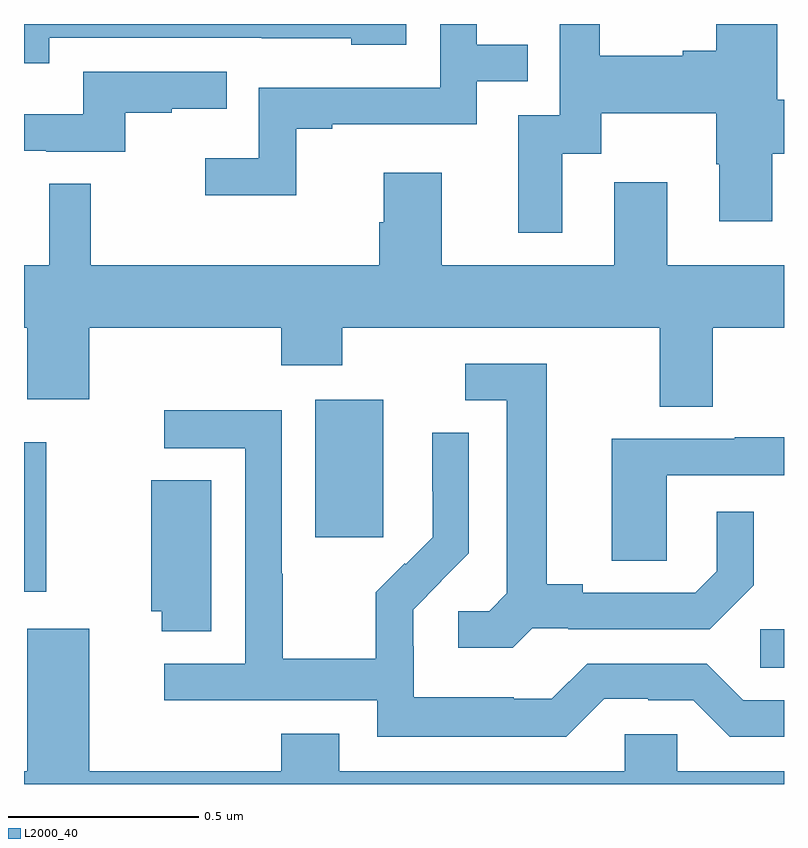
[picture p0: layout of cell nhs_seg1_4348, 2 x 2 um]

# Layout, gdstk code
import gdstk
lib = gdstk.Library(unit=1e-6, precision=1e-09)
def R(c, l, rs):  # rectangles x0, y0, x1, y1
    for r in rs: c.add(gdstk.rectangle(r[:2], r[2:], *l))
def P(c, l, *ps):  # polygons
    for p in ps: c.add(gdstk.Polygon(p, *l))
L2000_40 = (2000, 40)

nhs_seg1_4348 = lib.new_cell('nhs_seg1_4348')
R(nhs_seg1_4348, L2000_40, [(166.938,549.505,167,549.606), (165,549.705,165.058,550.099), (165.767,549.849,165.946,550.21)])
P(nhs_seg1_4348, L2000_40, [(165.067,551.163),(165.625,551.163),(165.625,551.162),(165.861,551.162),(165.861,551.144),(166.006,551.144),(166.006,551.199),(165,551.199),(165,551.096),(165.067,551.096)],
  [(166.417,550.858),(166.519,550.858),(166.519,550.964),(166.822,550.964),(166.822,550.83),(166.829,550.83),(166.829,550.68),(166.969,550.68),(166.969,550.858),(167,550.858),(167,551),(166.982,551),(166.982,551.199),(166.822,551.199),(166.822,551.129),(166.733,551.129),(166.733,551.116),(166.515,551.116),(166.515,551.199),(166.41,551.199),(166.41,550.959),(166.301,550.959),(166.301,550.65),(166.417,550.65)],
  [(165.717,550.923),(165.811,550.923),(165.811,550.935),(166.191,550.935),(166.191,551.049),(166.325,551.049),(166.325,551.145),(166.191,551.145),(166.191,551.199),(166.095,551.199),(166.095,551.031),(165.618,551.031),(165.618,550.846),(165.477,550.846),(165.477,550.748),(165.717,550.748)],
  [(165.266,550.965),(165.389,550.965),(165.389,550.976),(165.533,550.976),(165.533,551.073),(165.156,551.073),(165.156,550.961),(165,550.961),(165,550.866),(165.058,550.866),(165.058,550.863),(165.266,550.863)],
  [(166.813,550.4),(167,550.4),(167,550.564),(166.693,550.564),(166.693,550.783),(166.553,550.783),(166.553,550.564),(166.099,550.564),(166.099,550.807),(165.947,550.807),(165.947,550.677),(165.935,550.677),(165.935,550.564),(165.175,550.564),(165.175,550.778),(165.066,550.778),(165.066,550.564),(165,550.564),(165,550.4),(165.008,550.4),(165.008,550.212),(165.172,550.212),(165.172,550.4),(165.677,550.4),(165.677,550.301),(165.837,550.301),(165.837,550.4),(166.673,550.4),(166.673,550.192),(166.813,550.192)],
  [(166.338,549.609),(166.432,549.609),(166.432,549.606),(166.804,549.606),(166.92,549.722),(166.92,549.916),(166.823,549.916),(166.823,549.759),(166.766,549.702),(166.471,549.702),(166.471,549.725),(166.375,549.725),(166.375,550.305),(166.161,550.305),(166.161,550.209),(166.271,550.209),(166.271,549.701),(166.224,549.654),(166.143,549.654),(166.143,549.557),(166.286,549.557)],
  [(166.527,549.423),(166.643,549.423),(166.643,549.42),(166.761,549.42),(166.857,549.324),(167,549.324),(167,549.42),(166.893,549.42),(166.797,549.516),(166.482,549.516),(166.389,549.423),(166.289,549.423),(166.289,549.427),(166.026,549.427),(166.026,549.561),(166.024,549.561),(166.024,549.658),(166.098,549.732),(166.097,549.733),(166.17,549.806),(166.17,550.124),(166.074,550.124),(166.074,549.97),(166.076,549.97),(166.076,549.848),(166.005,549.777),(166.002,549.78),(165.925,549.703),(165.925,549.529),(165.681,549.529),(165.681,549.752),(165.678,549.752),(165.678,550.182),(165.369,550.182),(165.369,550.083),(165.582,550.083),(165.582,549.516),(165.369,549.516),(165.369,549.42),(165.93,549.42),(165.93,549.323),(166.427,549.323)],
  [(166.692,550.011),(167,550.011),(167,550.111),(166.871,550.111),(166.871,550.107),(166.547,550.107),(166.547,549.787),(166.692,549.787)],
  [(165.493,549.998),(165.335,549.998),(165.335,549.654),(165.362,549.654),(165.362,549.601),(165.493,549.601)],
  [(167,549.232),(166.719,549.232),(166.719,549.33),(166.581,549.33),(166.581,549.232),(165.829,549.232),(165.829,549.331),(165.677,549.331),(165.677,549.232),(165.172,549.232),(165.172,549.607),(165.008,549.607),(165.008,549.232),(165,549.232),(165,549.199),(167,549.199)])

lib.write_gds('nhs_seg1_4348.gds')
